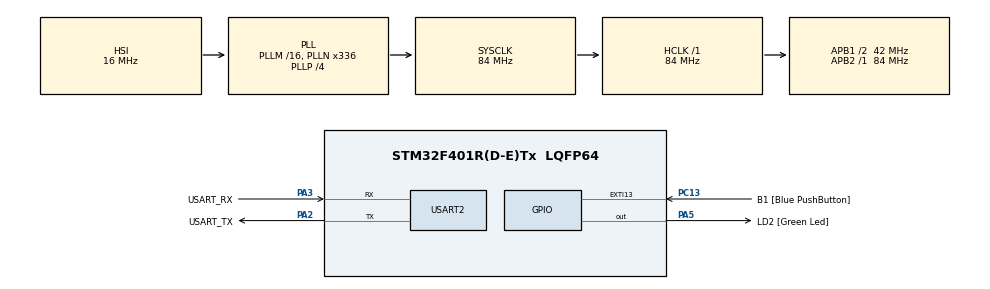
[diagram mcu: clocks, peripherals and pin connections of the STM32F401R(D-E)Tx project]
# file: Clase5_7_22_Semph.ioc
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FREERTOS.Tasks01=defaultTask,0,128,StartDefaultTask,Default,NULL,Dynamic,NULL,NULL
Mcu.Family=STM32F4
Mcu.Name=STM32F401R(D-E)Tx
Mcu.Package=LQFP64
NVIC.PriorityGroup=NVIC_PRIORITYGROUP_4
NVIC.TIM1_UP_TIM10_IRQn=true\:15\:0\:false\:false\:true\:false\:false\:true\:true
NVIC.TIM2_IRQn=true\:5\:0\:false\:false\:true\:true\:true\:true\:true
NVIC.TimeBase=TIM1_UP_TIM10_IRQn
NVIC.TimeBaseIP=TIM1
PA13.GPIO_Label=TMS
PA13.Mode=Serial_Wire
PA13.Signal=SYS_JTMS-SWDIO
PA14.GPIO_Label=TCK
PA14.Mode=Serial_Wire
PA14.Signal=SYS_JTCK-SWCLK
PA2.GPIO_Label=USART_TX
PA2.GPIO_Mode=GPIO_MODE_AF_PP
PA2.GPIO_PuPd=GPIO_NOPULL
PA2.GPIO_Speed=GPIO_SPEED_FREQ_LOW
PA2.Mode=Asynchronous
PA2.Signal=USART2_TX
PA3.GPIO_Label=USART_RX
PA3.GPIO_Mode=GPIO_MODE_AF_PP
PA3.GPIO_PuPd=GPIO_NOPULL
PA3.GPIO_Speed=GPIO_SPEED_FREQ_LOW
PA3.Mode=Asynchronous
PA3.Signal=USART2_RX
PA5.GPIO_Label=LD2 [Green Led]
PA5.GPIO_Mode=GPIO_MODE_OUTPUT_PP
PA5.GPIO_PuPd=GPIO_NOPULL
PA5.GPIO_Speed=GPIO_SPEED_FREQ_LOW
PA5.Signal=GPIO_Output
PB3.GPIO_Label=SWO
PB3.Signal=SYS_JTDO-SWO
PC13-ANTI_TAMP.GPIO_Label=B1 [Blue PushButton]
PC13-ANTI_TAMP.GPIO_ModeDefaultEXTI=GPIO_MODE_IT_FALLING
PC13-ANTI_TAMP.GPIO_PuPd=GPIO_NOPULL
PC13-ANTI_TAMP.Signal=GPXTI13
PC14-OSC32_IN.Mode=LSE-External-Oscillator
PC14-OSC32_IN.Signal=RCC_OSC32_IN
PC15-OSC32_OUT.Mode=LSE-External-Oscillator
PC15-OSC32_OUT.Signal=RCC_OSC32_OUT
PH0\ -\ OSC_IN.Mode=HSE-External-Clock-Source
PH0\ -\ OSC_IN.Signal=RCC_OSC_IN
PH1\ -\ OSC_OUT.Mode=HSE-External-Clock-Source
PH1\ -\ OSC_OUT.Signal=RCC_OSC_OUT
ProjectManager.HeapSize=0x200
ProjectManager.StackSize=0x400
ProjectManager.TargetToolchain=STM32CubeIDE
RCC.48MHZClocksFreq_Value=48000000
RCC.AHBFreq_Value=84000000
RCC.APB1CLKDivider=RCC_HCLK_DIV2
RCC.APB1Freq_Value=42000000
RCC.APB1TimFreq_Value=84000000
RCC.APB2Freq_Value=84000000
RCC.APB2TimFreq_Value=84000000
RCC.CortexFreq_Value=84000000
RCC.HCLKFreq_Value=84000000
RCC.HSE_VALUE=8000000
RCC.HSI_VALUE=16000000
RCC.PLLN=336
RCC.PLLP=RCC_PLLP_DIV4
RCC.PLLQ=7
RCC.SYSCLKFreq_VALUE=84000000
RCC.SYSCLKSource=RCC_SYSCLKSOURCE_PLLCLK
RCC.VCOOutputFreq_Value=336000000
TIM2.Period=10000
TIM2.Prescaler=8399
USART2.VirtualMode=VM_ASYNC
VP_FREERTOS_VS_CMSIS_V1.Mode=CMSIS_V1
VP_SYS_VS_tim1.Mode=TIM1
VP_TIM2_VS_ClockSourceINT.Mode=Internal
board=NUCLEO-F401RE

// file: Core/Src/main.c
/* USER CODE BEGIN Header */
/**
  ******************************************************************************
  * @file           : main.c
  * @brief          : Main program body
  ******************************************************************************
  * @attention
  *
  * Copyright (c) 2022 STMicroelectronics.
  * All rights reserved.
  *
  * This software is licensed under terms that can be found in the LICENSE file
  * in the root directory of this software component.
  * If no LICENSE file comes with this software, it is provided AS-IS.
  *
  ******************************************************************************
  */
/* USER CODE END Header */
#include "main.h"
#include "cmsis_os.h"

 TIM_HandleTypeDef htim2;

UART_HandleTypeDef huart2;

osThreadId defaultTaskHandle;
/* USER CODE BEGIN PV */

SemaphoreHandle_t Sem1;

/* USER CODE END PV */

void SystemClock_Config(void);
static void MX_GPIO_Init(void);
static void MX_USART2_UART_Init(void);
static void MX_TIM2_Init(void);
void StartDefaultTask(void const * argument);

/* USER CODE BEGIN PFP */
void Task1(void*);
void TaskInit(void*);

/* USER CODE END PFP */

int main(void)
{

  /* MCU Configuration--------------------------------------------------------*/

  /* Reset of all peripherals, Initializes the Flash interface and the Systick. */
  HAL_Init();

  /* Configure the system clock */
  SystemClock_Config();

  /* Initialize all configured peripherals */
  MX_GPIO_Init();
  MX_USART2_UART_Init();
  MX_TIM2_Init();
  /* USER CODE BEGIN 2 */

  vSemaphoreCreateBinary(Sem1);

  xSemaphoreGive(Sem1);

  /* USER CODE END 2 */

  /* Create the thread(s) */
  /* definition and creation of defaultTask */
  //osThreadDef(defaultTask, StartDefaultTask, osPriorityNormal, 0, 128);
  //defaultTaskHandle = osThreadCreate(osThread(defaultTask), NULL);

  /* USER CODE BEGIN RTOS_THREADS */
  /* add threads, ... */

  xTaskCreate(Task1, "Toggle", configMINIMAL_STACK_SIZE, NULL, tskIDLE_PRIORITY+1, NULL);
  xTaskCreate(TaskInit, "Init", configMINIMAL_STACK_SIZE, NULL, tskIDLE_PRIORITY+2, NULL);

  vTaskStartScheduler();
  /* USER CODE END RTOS_THREADS */

  /* Start scheduler */
  osKernelStart();

  /* We should never get here as control is now taken by the scheduler */
  /* Infinite loop */
  while (1)
  {

  }
}

void SystemClock_Config(void)
{
  RCC_OscInitTypeDef RCC_OscInitStruct = {0};
  RCC_ClkInitTypeDef RCC_ClkInitStruct = {0};

  /** Configure the main internal regulator output voltage
  */
  __HAL_RCC_PWR_CLK_ENABLE();
  __HAL_PWR_VOLTAGESCALING_CONFIG(PWR_REGULATOR_VOLTAGE_SCALE2);

  /** Initializes the RCC Oscillators according to the specified parameters
  * in the RCC_OscInitTypeDef structure.
  */
  RCC_OscInitStruct.OscillatorType = RCC_OSCILLATORTYPE_HSI;
  RCC_OscInitStruct.HSIState = RCC_HSI_ON;
  RCC_OscInitStruct.HSICalibrationValue = RCC_HSICALIBRATION_DEFAULT;
  RCC_OscInitStruct.PLL.PLLState = RCC_PLL_ON;
  RCC_OscInitStruct.PLL.PLLSource = RCC_PLLSOURCE_HSI;
  RCC_OscInitStruct.PLL.PLLM = 16;
  RCC_OscInitStruct.PLL.PLLN = 336;
  RCC_OscInitStruct.PLL.PLLP = RCC_PLLP_DIV4;
  RCC_OscInitStruct.PLL.PLLQ = 7;
  if (HAL_RCC_OscConfig(&RCC_OscInitStruct) != HAL_OK)
  {
    Error_Handler();
  }

  /** Initializes the CPU, AHB and APB buses clocks
  */
  RCC_ClkInitStruct.ClockType = RCC_CLOCKTYPE_HCLK|RCC_CLOCKTYPE_SYSCLK
                              |RCC_CLOCKTYPE_PCLK1|RCC_CLOCKTYPE_PCLK2;
  RCC_ClkInitStruct.SYSCLKSource = RCC_SYSCLKSOURCE_PLLCLK;
  RCC_ClkInitStruct.AHBCLKDivider = RCC_SYSCLK_DIV1;
  RCC_ClkInitStruct.APB1CLKDivider = RCC_HCLK_DIV2;
  RCC_ClkInitStruct.APB2CLKDivider = RCC_HCLK_DIV1;

  if (HAL_RCC_ClockConfig(&RCC_ClkInitStruct, FLASH_LATENCY_2) != HAL_OK)
  {
    Error_Handler();
  }
}

static void MX_TIM2_Init(void)
{

  TIM_ClockConfigTypeDef sClockSourceConfig = {0};
  TIM_MasterConfigTypeDef sMasterConfig = {0};

  htim2.Instance = TIM2;
  htim2.Init.Prescaler = 8399;
  htim2.Init.CounterMode = TIM_COUNTERMODE_UP;
  htim2.Init.Period = 10000;
  htim2.Init.ClockDivision = TIM_CLOCKDIVISION_DIV1;
  htim2.Init.AutoReloadPreload = TIM_AUTORELOAD_PRELOAD_DISABLE;
  if (HAL_TIM_Base_Init(&htim2) != HAL_OK)
  {
    Error_Handler();
  }
  sClockSourceConfig.ClockSource = TIM_CLOCKSOURCE_INTERNAL;
  if (HAL_TIM_ConfigClockSource(&htim2, &sClockSourceConfig) != HAL_OK)
  {
    Error_Handler();
  }
  sMasterConfig.MasterOutputTrigger = TIM_TRGO_RESET;
  sMasterConfig.MasterSlaveMode = TIM_MASTERSLAVEMODE_DISABLE;
  if (HAL_TIMEx_MasterConfigSynchronization(&htim2, &sMasterConfig) != HAL_OK)
  {
    Error_Handler();
  }

}

static void MX_USART2_UART_Init(void)
{

  huart2.Instance = USART2;
  huart2.Init.BaudRate = 115200;
  huart2.Init.WordLength = UART_WORDLENGTH_8B;
  huart2.Init.StopBits = UART_STOPBITS_1;
  huart2.Init.Parity = UART_PARITY_NONE;
  huart2.Init.Mode = UART_MODE_TX_RX;
  huart2.Init.HwFlowCtl = UART_HWCONTROL_NONE;
  huart2.Init.OverSampling = UART_OVERSAMPLING_16;
  if (HAL_UART_Init(&huart2) != HAL_OK)
  {
    Error_Handler();
  }

}

static void MX_GPIO_Init(void)
{
  GPIO_InitTypeDef GPIO_InitStruct = {0};

  /* GPIO Ports Clock Enable */
  __HAL_RCC_GPIOC_CLK_ENABLE();
  __HAL_RCC_GPIOH_CLK_ENABLE();
  __HAL_RCC_GPIOA_CLK_ENABLE();
  __HAL_RCC_GPIOB_CLK_ENABLE();

  /*Configure GPIO pin Output Level */
  HAL_GPIO_WritePin(LD2_GPIO_Port, LD2_Pin, GPIO_PIN_RESET);

  /*Configure GPIO pin : B1_Pin */
  GPIO_InitStruct.Pin = B1_Pin;
  GPIO_InitStruct.Mode = GPIO_MODE_IT_FALLING;
  GPIO_InitStruct.Pull = GPIO_NOPULL;
  HAL_GPIO_Init(B1_GPIO_Port, &GPIO_InitStruct);

  /*Configure GPIO pin : LD2_Pin */
  GPIO_InitStruct.Pin = LD2_Pin;
  GPIO_InitStruct.Mode = GPIO_MODE_OUTPUT_PP;
  GPIO_InitStruct.Pull = GPIO_NOPULL;
  GPIO_InitStruct.Speed = GPIO_SPEED_FREQ_LOW;
  HAL_GPIO_Init(LD2_GPIO_Port, &GPIO_InitStruct);

}

/* USER CODE BEGIN 4 */
void TaskInit(void* pvParameters)
{
	HAL_TIM_Base_Start_IT(&htim2);
	vTaskDelete(NULL);

}
void Task1(void* pvParameters)
{
	while(1)
	{
		xSemaphoreTake(Sem1,portMAX_DELAY);

		HAL_GPIO_TogglePin(LD2_GPIO_Port, LD2_Pin);
	}

}

/* USER CODE END 4 */

void StartDefaultTask(void const * argument)
{
  for(;;)
  {
    osDelay(1);
  }
}

void HAL_TIM_PeriodElapsedCallback(TIM_HandleTypeDef *htim)
{
  /* USER CODE BEGIN Callback 0 */

	BaseType_t pxHigherPriorityTaskWoken = 0;

  /* USER CODE END Callback 0 */
  if (htim->Instance == TIM1) {
    HAL_IncTick();
  }
  /* USER CODE BEGIN Callback 1 */
  if (htim->Instance == TIM2)
  {
	  xSemaphoreGiveFromISR(Sem1,&pxHigherPriorityTaskWoken);
	  portYIELD_FROM_ISR(pxHigherPriorityTaskWoken);
  }
  /* USER CODE END Callback 1 */
}

void Error_Handler(void)
{
  __disable_irq();
  while (1)
  {
  }
}
